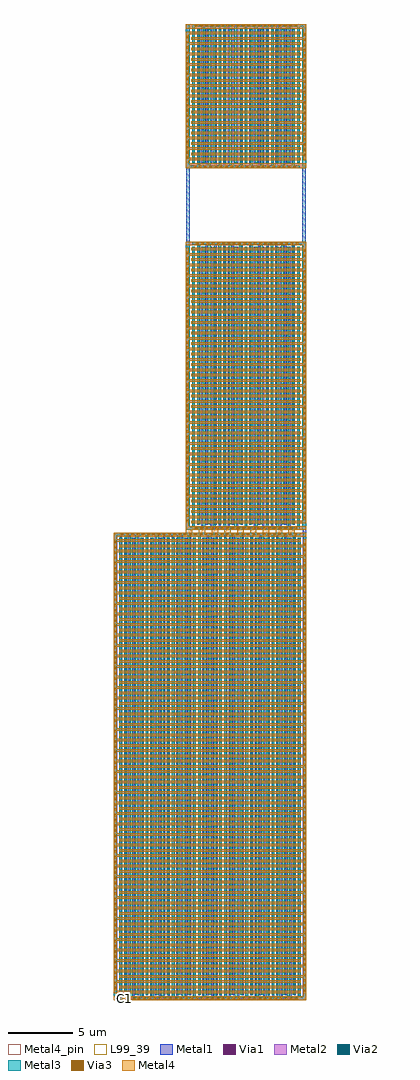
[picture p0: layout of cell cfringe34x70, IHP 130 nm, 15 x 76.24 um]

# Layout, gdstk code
from math import pi, radians
import gdstk
lib = gdstk.Library(unit=1e-6, precision=1e-09)
def R(c, l, rs):  # rectangles x0, y0, x1, y1
    for r in rs: c.add(gdstk.rectangle(r[:2], r[2:], *l))
def A(c, l, x, y, w, h, nx, ny, dx, dy):  # array of equal rectangles
    R(c, l, [(x+i*dx, y+j*dy, x+i*dx+w, y+j*dy+h) for i in range(nx) for j in range(ny)])
Metal1 = (8, 0)
Metal2 = (10, 0)
Via1 = (19, 0)
Via2 = (29, 0)
Metal3 = (30, 0)
Via3 = (49, 0)
Metal4 = (50, 0)
Metal4_pin = (50, 2)
L99_39 = (99, 39)

cap_mfringe = lib.new_cell('cap_mfringe')
A(cap_mfringe, Metal1, 0.525, 0, 0.16, 22.11, 13, 1, 0.68, 0)
A(cap_mfringe, Metal1, 0.865, 0.39, 0.16, 22.11, 12, 1, 0.68, 0)
R(cap_mfringe, Metal1, [(0,0,0.305,22.5), (0,0,8.845,0.21), (9.065,0,9.375,22.5), (0.525,22.29,9.375,22.5)])
A(cap_mfringe, Metal2, 0.42, 0.49, 8.955, 0.2, 1, 27, 0, 0.82)
A(cap_mfringe, Metal2, 0, 0.9, 8.955, 0.2, 1, 26, 0, 0.82)
R(cap_mfringe, Metal2, [(0,0,9.375,0.28), (0,0,0.205,22.01), (9.17,0.49,9.375,22.5), (0,22.22,9.375,22.5)])
A(cap_mfringe, Via1, 0.9, 0.01, 0.19, 0.19, 19, 1, 0.41, 0)
A(cap_mfringe, Via1, 0.01, 0.6, 0.19, 0.19, 1, 52, 0, 0.41)
A(cap_mfringe, Via1, 9.175, 0.8, 0.19, 0.19, 1, 52, 0, 0.41)
A(cap_mfringe, Via1, 0.795, 22.3, 0.19, 0.19, 20, 1, 0.41, 0)
A(cap_mfringe, Via2, 0.695, 0.005, 0.19, 0.19, 20, 1, 0.41, 0)
A(cap_mfringe, Via2, 0.005, 0.6, 0.19, 0.19, 1, 52, 0, 0.41)
A(cap_mfringe, Via2, 9.18, 0.8, 0.19, 0.19, 1, 52, 0, 0.41)
A(cap_mfringe, Via2, 0.795, 22.305, 0.19, 0.19, 20, 1, 0.41, 0)
A(cap_mfringe, Metal3, 0.485, 0, 0.2, 22.09, 11, 1, 0.82, 0)
A(cap_mfringe, Metal3, 0.895, 0.41, 0.2, 22.09, 10, 1, 0.82, 0)
R(cap_mfringe, Metal3, [(0,0,0.275,22.5), (0,0,8.885,0.2), (9.095,0,9.375,22.5), (0.485,22.3,9.375,22.5)])
A(cap_mfringe, Via3, 0.695, 0.005, 0.19, 0.19, 20, 1, 0.41, 0)
A(cap_mfringe, Via3, 0.005, 0.6, 0.19, 0.19, 1, 52, 0, 0.41)
A(cap_mfringe, Via3, 9.18, 0.8, 0.19, 0.19, 1, 52, 0, 0.41)
A(cap_mfringe, Via3, 0.795, 22.305, 0.19, 0.19, 20, 1, 0.41, 0)
A(cap_mfringe, Metal4, 0.41, 0.49, 8.965, 0.2, 1, 27, 0, 0.82)
A(cap_mfringe, Metal4, 0, 0.9, 8.965, 0.2, 1, 26, 0, 0.82)
R(cap_mfringe, Metal4, [(0,0,9.375,0.28), (0,0,0.2,22.01), (9.175,0.49,9.375,22.5), (0,22.22,9.375,22.5)])
R(cap_mfringe, Metal4_pin, [(0,11.15,0.2,11.35), (4.585,22.3,4.785,22.5)])
R(cap_mfringe, L99_39, [(0,0,9.375,22.5)])
cap_mfringe.add(gdstk.Label('cap_mfringe C=489.375fF', (0,-0.5), layer=63, texttype=0))

cap_mfringe_1 = lib.new_cell('cap_mfringe$1')
A(cap_mfringe_1, Metal1, 0.525, 0, 0.16, 10.87, 13, 1, 0.68, 0)
A(cap_mfringe_1, Metal1, 0.865, 0.39, 0.16, 10.87, 12, 1, 0.68, 0)
R(cap_mfringe_1, Metal1, [(0,0,0.305,11.26), (0,0,8.845,0.21), (9.065,0,9.375,11.26), (0.525,11.05,9.375,11.26)])
A(cap_mfringe_1, Metal2, 0.42, 0.61, 8.955, 0.2, 1, 13, 0, 0.82)
A(cap_mfringe_1, Metal2, 0, 1.02, 8.955, 0.2, 1, 12, 0, 0.82)
R(cap_mfringe_1, Metal2, [(0,0,9.375,0.37), (0,0,0.205,10.65), (9.17,0.61,9.375,11.26), (0,10.89,9.375,11.26)])
A(cap_mfringe_1, Via1, 0.9, 0.01, 0.19, 0.19, 19, 1, 0.41, 0)
A(cap_mfringe_1, Via1, 0.01, 0.72, 0.19, 0.19, 1, 24, 0, 0.41)
A(cap_mfringe_1, Via1, 9.175, 0.92, 0.19, 0.19, 1, 24, 0, 0.41)
A(cap_mfringe_1, Via1, 0.795, 11.06, 0.19, 0.19, 20, 1, 0.41, 0)
A(cap_mfringe_1, Via2, 0.695, 0.005, 0.19, 0.19, 20, 1, 0.41, 0)
A(cap_mfringe_1, Via2, 0.005, 0.72, 0.19, 0.19, 1, 24, 0, 0.41)
A(cap_mfringe_1, Via2, 9.18, 0.92, 0.19, 0.19, 1, 24, 0, 0.41)
A(cap_mfringe_1, Via2, 0.795, 11.065, 0.19, 0.19, 20, 1, 0.41, 0)
A(cap_mfringe_1, Metal3, 0.485, 0, 0.2, 10.85, 11, 1, 0.82, 0)
A(cap_mfringe_1, Metal3, 0.895, 0.41, 0.2, 10.85, 10, 1, 0.82, 0)
R(cap_mfringe_1, Metal3, [(0,0,0.275,11.26), (0,0,8.885,0.2), (9.095,0,9.375,11.26), (0.485,11.06,9.375,11.26)])
A(cap_mfringe_1, Via3, 0.695, 0.005, 0.19, 0.19, 20, 1, 0.41, 0)
A(cap_mfringe_1, Via3, 0.005, 0.72, 0.19, 0.19, 1, 24, 0, 0.41)
A(cap_mfringe_1, Via3, 9.18, 0.92, 0.19, 0.19, 1, 24, 0, 0.41)
A(cap_mfringe_1, Via3, 0.795, 11.065, 0.19, 0.19, 20, 1, 0.41, 0)
A(cap_mfringe_1, Metal4, 0.41, 0.61, 8.965, 0.2, 1, 13, 0, 0.82)
A(cap_mfringe_1, Metal4, 0, 1.02, 8.965, 0.2, 1, 12, 0, 0.82)
R(cap_mfringe_1, Metal4, [(0,0,9.375,0.37), (0,0,0.2,10.65), (9.175,0.61,9.375,11.26), (0,10.89,9.375,11.26)])
R(cap_mfringe_1, Metal4_pin, [(0,5.53,0.2,5.73), (4.585,11.06,4.785,11.26)])
R(cap_mfringe_1, L99_39, [(0,0,9.375,11.26)])
cap_mfringe_1.add(gdstk.Label('cap_mfringe C=244.905fF', (0,-0.5), layer=63, texttype=0))

cap_mfringe_2 = lib.new_cell('cap_mfringe$2')
A(cap_mfringe_2, Metal1, 0.45, 0, 0.16, 36.11, 21, 1, 0.68, 0)
A(cap_mfringe_2, Metal1, 0.79, 0.39, 0.16, 36.11, 21, 1, 0.68, 0)
R(cap_mfringe_2, Metal1, [(0,0,0.27,36.5), (0,0,14.55,0.21), (14.73,0,15,36.5), (0.45,36.29,15,36.5)])
A(cap_mfringe_2, Metal2, 0.42, 0.52, 14.58, 0.2, 1, 44, 0, 0.82)
A(cap_mfringe_2, Metal2, 0, 0.93, 14.58, 0.2, 1, 43, 0, 0.82)
R(cap_mfringe_2, Metal2, [(0,0,15,0.31), (0,0,0.205,35.98), (14.795,0.52,15,36.5), (0,36.19,15,36.5)])
A(cap_mfringe_2, Via1, 0.845, 0.01, 0.19, 0.19, 33, 1, 0.41, 0)
A(cap_mfringe_2, Via1, 0.01, 0.63, 0.19, 0.19, 1, 86, 0, 0.41)
A(cap_mfringe_2, Via1, 14.8, 0.83, 0.19, 0.19, 1, 86, 0, 0.41)
A(cap_mfringe_2, Via1, 0.74, 36.3, 0.19, 0.19, 34, 1, 0.41, 0)
A(cap_mfringe_2, Via2, 0.64, 0.005, 0.19, 0.19, 34, 1, 0.41, 0)
A(cap_mfringe_2, Via2, 0.005, 0.63, 0.19, 0.19, 1, 86, 0, 0.41)
A(cap_mfringe_2, Via2, 14.805, 0.83, 0.19, 0.19, 1, 86, 0, 0.41)
A(cap_mfringe_2, Via2, 0.74, 36.305, 0.19, 0.19, 34, 1, 0.41, 0)
A(cap_mfringe_2, Metal3, 0.43, 0, 0.2, 36.09, 18, 1, 0.82, 0)
A(cap_mfringe_2, Metal3, 0.84, 0.41, 0.2, 36.09, 17, 1, 0.82, 0)
R(cap_mfringe_2, Metal3, [(0,0,0.22,36.5), (0,0,14.57,0.2), (14.78,0,15,36.5), (0.43,36.3,15,36.5)])
A(cap_mfringe_2, Via3, 0.64, 0.005, 0.19, 0.19, 34, 1, 0.41, 0)
A(cap_mfringe_2, Via3, 0.005, 0.63, 0.19, 0.19, 1, 86, 0, 0.41)
A(cap_mfringe_2, Via3, 14.805, 0.83, 0.19, 0.19, 1, 86, 0, 0.41)
A(cap_mfringe_2, Via3, 0.74, 36.305, 0.19, 0.19, 34, 1, 0.41, 0)
A(cap_mfringe_2, Metal4, 0.41, 0.52, 14.59, 0.2, 1, 44, 0, 0.82)
A(cap_mfringe_2, Metal4, 0, 0.93, 14.59, 0.2, 1, 43, 0, 0.82)
R(cap_mfringe_2, Metal4, [(0,0,15,0.31), (0,0,0.2,35.98), (14.8,0.52,15,36.5), (0,36.19,15,36.5)])
R(cap_mfringe_2, Metal4_pin, [(0,18.15,0.2,18.35), (7.4,36.3,7.6,36.5)])
R(cap_mfringe_2, L99_39, [(0,0,15,36.5)])
cap_mfringe_2.add(gdstk.Label('cap_mfringe C=1270.200fF', (0,-0.5), layer=63, texttype=0))

cfringe34x70 = lib.new_cell('cfringe34x70')
cfringe34x70.add(gdstk.FlexPath([(11.455,13.89),(11.455,8.15)], 0.3, ends="flush", simple_path=True, layer=8, datatype=0))  # Metal1
cfringe34x70.add(gdstk.FlexPath([(20.52,13.89),(20.52,8.15)], 0.3, ends="flush", simple_path=True, layer=8, datatype=0))  # Metal1
cfringe34x70.add(gdstk.FlexPath([(20.54,-14.35),(20.54,-14.59)], 0.27, ends="flush", simple_path=True, layer=8, datatype=0))  # Metal1
cfringe34x70.add(gdstk.FlexPath([(11.55,-14.35),(11.55,-14.59)], 0.5, ends="flush", simple_path=True, layer=50, datatype=0))  # Metal4
cfringe34x70.add(gdstk.FlexPath([(12.55,-14.35),(12.55,-14.59)], 0.5, ends="flush", simple_path=True, layer=50, datatype=0))  # Metal4
cfringe34x70.add(gdstk.FlexPath([(13.55,-14.35),(13.55,-14.59)], 0.5, ends="flush", simple_path=True, layer=50, datatype=0))  # Metal4
cfringe34x70.add(gdstk.FlexPath([(14.55,-14.35),(14.55,-14.59)], 0.5, ends="flush", simple_path=True, layer=50, datatype=0))  # Metal4
cfringe34x70.add(gdstk.FlexPath([(15.55,-14.35),(15.55,-14.59)], 0.5, ends="flush", simple_path=True, layer=50, datatype=0))  # Metal4
cfringe34x70.add(gdstk.FlexPath([(16.55,-14.35),(16.55,-14.59)], 0.5, ends="flush", simple_path=True, layer=50, datatype=0))  # Metal4
cfringe34x70.add(gdstk.FlexPath([(17.55,-14.35),(17.55,-14.59)], 0.5, ends="flush", simple_path=True, layer=50, datatype=0))  # Metal4
cfringe34x70.add(gdstk.FlexPath([(18.55,-14.35),(18.55,-14.59)], 0.5, ends="flush", simple_path=True, layer=50, datatype=0))  # Metal4
cfringe34x70.add(gdstk.FlexPath([(19.55,-14.35),(19.55,-14.59)], 0.5, ends="flush", simple_path=True, layer=50, datatype=0))  # Metal4
cfringe34x70.add(gdstk.FlexPath([(6.315,-50.96),(6.715,-50.96)], 0.2, ends="flush", simple_path=True, layer=50, datatype=2))  # Metal4_pin
cfringe34x70.add(gdstk.FlexPath([(5.775,-50.57),(5.775,-50.035)], 0.2, ends="flush", simple_path=True, layer=50, datatype=2))  # Metal4_pin
r = gdstk.Reference(cap_mfringe, (11.3,-14.35)); r.repetition = gdstk.Repetition(1, 1, v1=(0,0), v2=(0,0)); cfringe34x70.add(r)
r = gdstk.Reference(cap_mfringe_1, (20.675,25.15), rotation=pi); r.repetition = gdstk.Repetition(1, 1, v1=(0,0), v2=(0,0)); cfringe34x70.add(r)
r = gdstk.Reference(cap_mfringe_2, (20.675,-51.09), rotation=pi, x_reflection=True); r.repetition = gdstk.Repetition(1, 1, v1=(0,0), v2=(0,0)); cfringe34x70.add(r)
cfringe34x70.add(gdstk.Label('C1', (6.49,-50.96), layer=50, texttype=25))
cfringe34x70.add(gdstk.Label('C2', (5.695,-50.465), layer=50, texttype=25))

lib.write_gds('cfringe34x70.gds')
